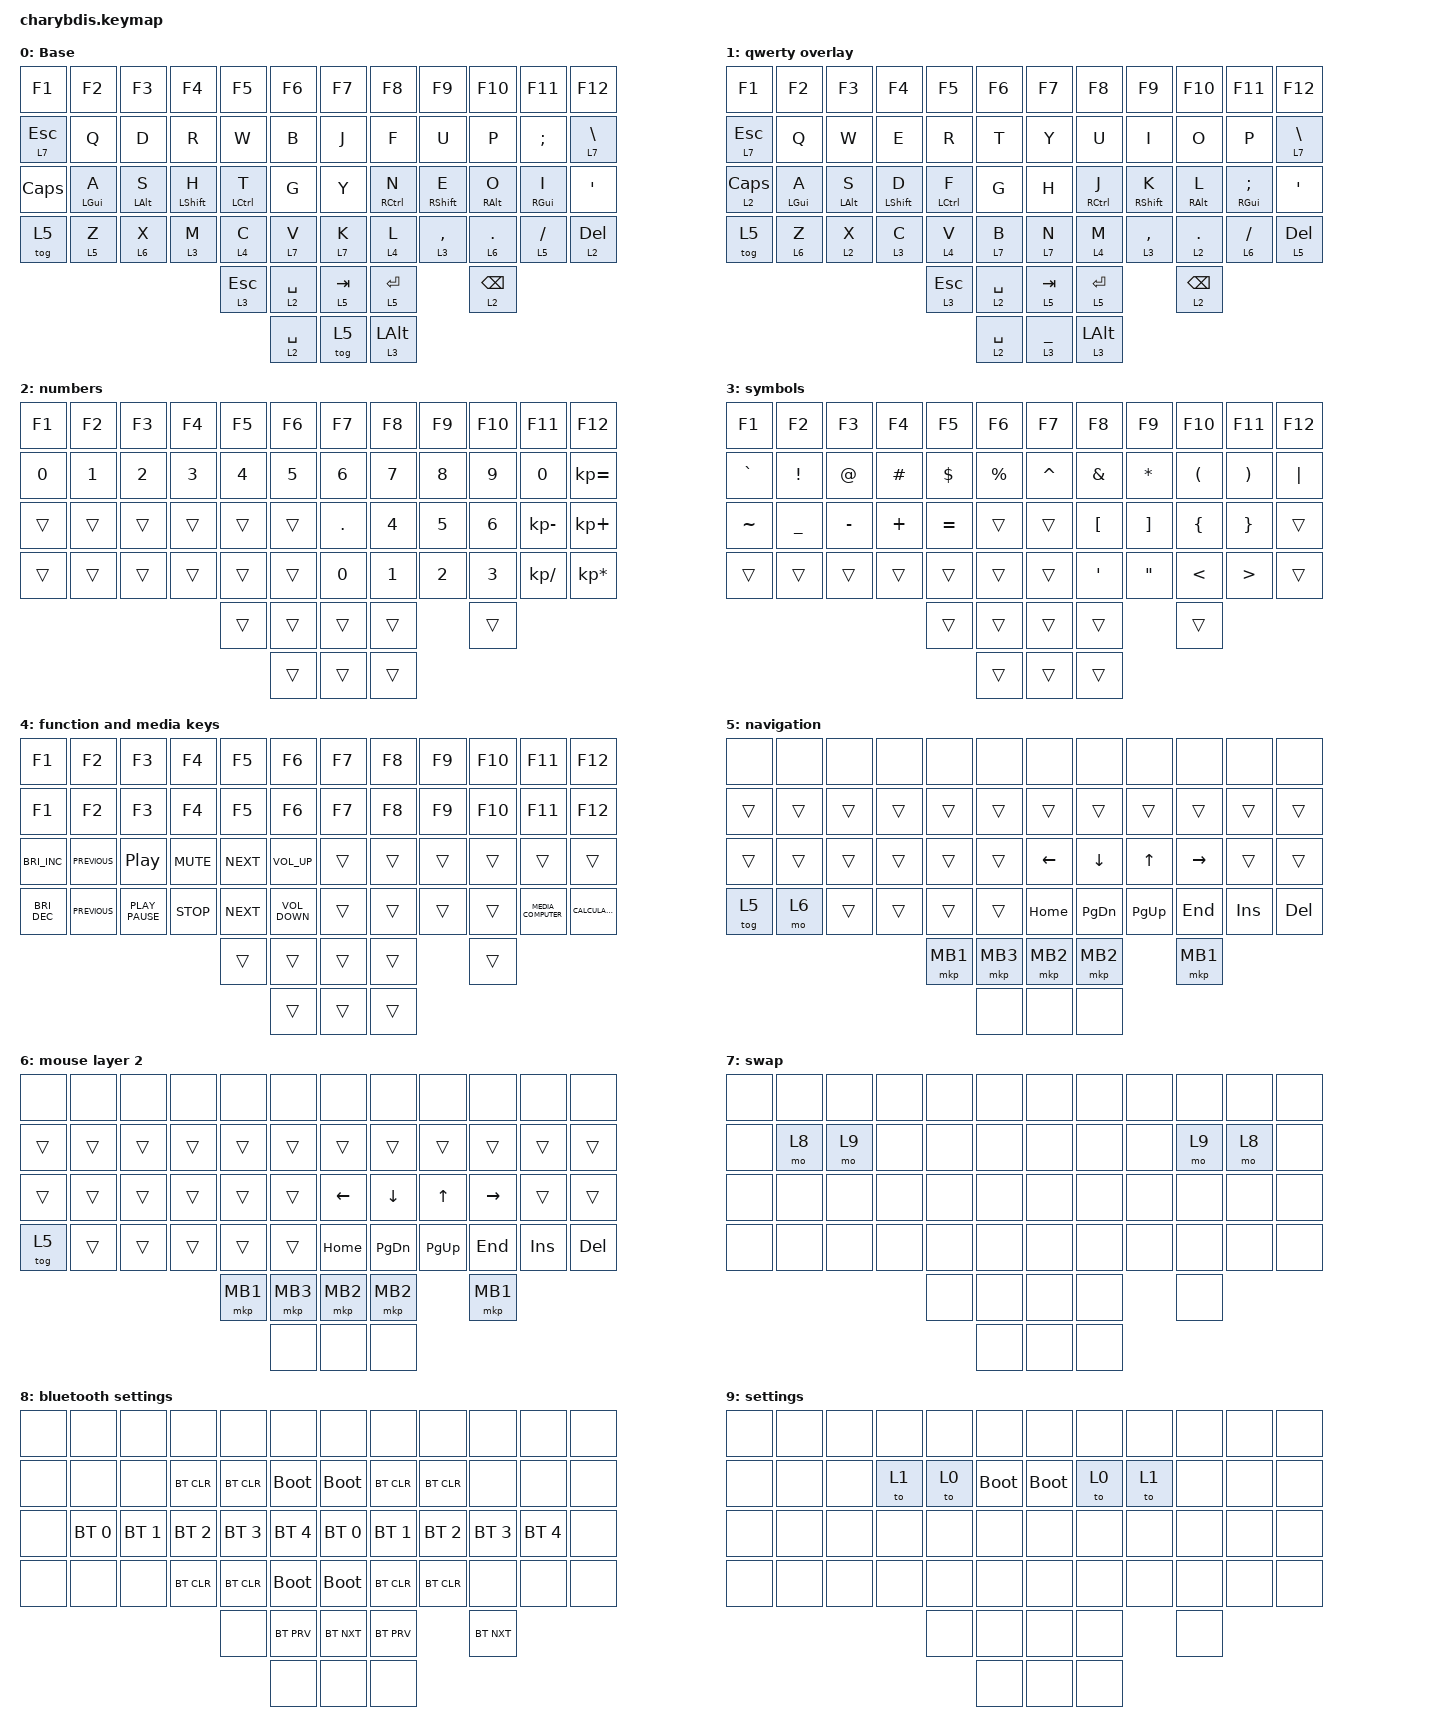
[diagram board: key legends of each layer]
#include <behaviors.dtsi>
#include <dt-bindings/zmk/bt.h>
#include <dt-bindings/zmk/keys.h>
#include <dt-bindings/zmk/mouse.h>

&lt {
	tapping-term-ms = <150>;
	quick-tap-ms = <120>;
	/* tap-preferred flavor: decision made when tapping term expires. (Trying this now with a reduced tapping term of 150ms and quick tap 120ms, 180ms 150ms was too slow for my typing speed).
	* balanced flavor: decision made when interrupting key is released. (Tried this with tapping term 180ms & quick tap 150ms, found that it slows my typing because in order to register consecutive taps I have to wait for the tapping term to expire)
	* hold-preferred flavor: decision made when interrupting key is pressed. (Not my desired behaviour)
	* https://zmk.dev/assets/images/comparison-90bcec61f679e88a74490eb261d92940.svg
	*/
	//flavor = "hold-preferred";
	flavor = "balanced";
	//flavor = "tap-preferred";
};

/ {
	combos {
		compatible = "zmk,combos";

		printscreen_left_3row {
			bindings = <&kp PRINTSCREEN>;
			key-positions = <12 17>;
			layers = <0 1>; // comment out to make it a global combo
			timeout-ms = <50>;
		};

		printscreen_right_3row {
			bindings = <&kp PRINTSCREEN>;
			key-positions = <18 23>;
			layers = <0 1>;
			timeout-ms = <50>;
		};

	/*		printscreen_left_4row {
			bindings = <&kp PRINTSCREEN>;
			key-positions = <24 29>;
			layers = <0 1>; // comment out to make it a global combo
			timeout-ms = <50>;
		};

		printscreen_right_4row {
			bindings = <&kp PRINTSCREEN>;
			key-positions = <30 35>;
			layers = <0 1>;
			timeout-ms = <50>;
		};
	*/
		bootloader_left_3row {
			bindings = <&bootloader>;
			key-positions = <0 5 19 24>;
			timeout-ms = <50>;
			layers = <0 1>;
		};

		bootloader_right_3row {
			bindings = <&bootloader>;
			key-positions = <6 11 25 30>;
			timeout-ms = <50>;
			layers = <0 1>;
		};

	/*		bootloader_left_4row {
			bindings = <&bootloader>;
			key-positions = <l3 18 37 42>;
			timeout-ms = <50>;
			layers = <0 1>;
		};

		bootloader_right_4row {
			bindings = <&bootloader>;
			key-positions = <19 24 43 48>;
			timeout-ms = <50>;
			layers = <0 1>;
		};
	*/
	};

	keymap {
		compatible = "zmk,keymap";
		/*-----------------------------------------------------------------------------------------------------------------------------|
		| LAYER 0 - BASE LAYER - WORKMAN - HOMEROW MODS GASC - LAYERTAP THUMB CLUSTER & LAYER TAP ROW 3                                |
		|-----------------------------------------------------| ROW 0            |-----------------------------------------------------|
		| x      | x      | x      | x      | x      | x      |  NOT IN SCOPE    | x      | x      | x      | x      | x      | x      |
		|--------|--------|--------|--------|--------|--------| ROW 1            |--------|--------|--------|--------|--------|--------|
		| ESC    | Q      | D      | R      | W      | B      |                  | J      | F      | U      | P      | ;      | \ |    |
		|        |        |        |        |        |        |                  |        |        |        |        |        | LT 9   |
		|--------|--------|--------|--------|--------|--------| ROW 2            |--------|--------|--------|--------|--------|--------|
		| CAPS   | A      | S      | H      | T      | G      |                  | Y      | N      | E      | O      | I      | ' "    |
		|        | LGUI   | LALT   | LSHFT  | LCTRL  |        |                  |        | RCTRL  | RSHFT  | RALT   | RGUI   |        |
		|--------|--------|--------|--------|--------|--------| ROW 3            |--------|--------|--------|--------|--------|--------|
		|        | Z      | X      | M      | C      | V      |                  | K      | L      | , <    | . >    | / ?    | DELETE |
		| TOG 5  | LT 5   | LT 6   | LT 3   | LT 4   | LT 7   |                  | LT 7   | LT 4   | LT 3   | LT 6   | LT 5   | LT 2   |
		|-----------------------------------|--------|--------|--------||--------|--------|--------------------------------------------|
		| ROW 4                             | ESCAPE | SPACE  | TAB    || ENTER  | BCKSPC |    /-------\   TRACKBALL PM3610            |
		|                                   | LT 3   | LT 2   | LT 5   || LT 3   | LT 2   |	  / MOUSE   \                              |
		| ROW 5 - NOT IN SCOPE              |--------|--------|--------||--------|--------|	 (  MOVEMENT )                             |
		|                                            | SPACE  | TOG 5  || LALT   |            \         /                              |
		|                                            | LT 2   |        || LT 3   |             \-------/                               |
		|                                            |--------|--------||--------|                                                     |
		|-----------------------------------------------------------------------------------------------------------------------------*/
		/* L0: base L1: QWERTY L2: Numbers L3: Symbols L4: FkeysMedia L5: Navigation L6: Mouse L7: Swap L8: BT Settings L9: Settings	*/
		Base {
			bindings = <
				&kp F1          &kp F2           	&kp F3            	&kp F4      		&kp F5      		&kp F6          &kp F7   	&kp F8   &kp F9   &kp F10  &kp F11                 &kp F12
				&lt 7 ESCAPE	&kp Q				&kp D				&kp R				&kp W				&kp B			&kp J		&kp F						&kp U						&kp P					&kp SEMICOLON		&lt 7 BACKSLASH
				&kp CAPSLOCK	&mt LEFT_GUI A		&mt LEFT_ALT S		&mt LEFT_SHIFT H	&mt LEFT_CONTROL T	&kp G			&kp Y		&mt RIGHT_CONTROL N	&mt RIGHT_SHIFT E		&mt RIGHT_ALT O	&mt RIGHT_GUI I	&kp APOSTROPHE
				&tog 5			&lt 5 Z				&lt 6 X				&lt 3 M				&lt 4 C					&lt 7 V		&lt 7 K		&lt 4 L					&lt 3 COMMA				&lt 6 PERIOD		&lt 5 SLASH			&lt 2 DELETE
																					&lt 3 ESCAPE		&lt 2 SPACE				&lt 5 TAB	&lt 5 ENTER		&lt 2 BACKSPACE
																										&lt 2 SPACE				&tog 5		&lt 3 LALT
			>;
			trackball-bindings = <&tmv_coarse>;
		};

		/*-----------------------------------------------------------------------------------------------------------------------------|
		| LAYER 1 - BASE LAYER overlay - QWERTY - HOMEROW MODS GASC - LAYERTAP THUMB CLUSTER & LAYER TAP ROW 3                         |
		|-----------------------------------------------------| ROW 0            |-----------------------------------------------------|
		| x      | x      | x      | x      | x      | x      |  NOT IN SCOPE    | x      | x      | x      | x      | x      | x      |
		|--------|--------|--------|--------|--------|--------| ROW 1            |--------|--------|--------|--------|--------|--------|
		| ESC    | Q      | W      | E      | R      | T      |                  | Y      | U      | I      | O      | P      | \ |    |
		|        |        |        |        |        |        |                  |        |        |        |        |        |        |
		|--------|--------|--------|--------|--------|--------| ROW 2            |--------|--------|--------|--------|--------|--------|
		| CAPS   | A      | S      | D      | F      | G      |                  | H      | J      | K      | L      | ;      | ' "    |
		|        | LGUI   | LALT   | LSHFT  | LCTRL  |        |                  |        | RCTRL  | RSHFT  | RALT   | RGUI   |        |
		|--------|--------|--------|--------|--------|--------| ROW 3            |--------|--------|--------|--------|--------|--------|
		|        | Z      | X      | C      | V      | B      |                  | N      | M      | , <    | . >    | / ?    | DELETE |
		| TOG 5  |        |        |        |        |        |                  |        |        |        |        |        |        |
		|-----------------------------------|--------|--------|--------||--------|--------|--------------------------------------------|
		| ROW 4                             | LGUI   | SPACE  | TAB    || ENTER  | BCKSPC |    /-------\   TRACKBALL PM3610            |
		|                                   |        |        |        ||        |        |	  / MOUSE   \                              |
		| ROW 5 - NOT IN SCOPE              |--------|--------|--------||--------|--------|	 (  MOVEMENT )                             |
		|                                            | x      | x      || x      |            \         /                              |
		|                                            |-----------------||--------|             \-------/                               |
		|-----------------------------------------------------------------------------------------------------------------------------*/
		qwerty {
			label = "qwerty overlay";
			bindings = <
				&kp F1                &kp F2           &kp F3            &kp F4      &kp F5      &kp F6               &kp F7   &kp F8   &kp F9   &kp F10  &kp F11                 &kp F12
				&lt 7 ESCAPE  &kp Q &kp W &kp E &kp R &kp T &kp Y &kp U &kp I &kp O &kp P &lt 7 BACKSLASH
				&lt 2 CAPSLOCK &mt LEFT_GUI A &mt LEFT_ALT S &mt LEFT_SHIFT D  &mt LEFT_CONTROL F   &kp G &kp H &mt RIGHT_CONTROL J  &mt RIGHT_SHIFT K &mt RIGHT_ALT L   &mt RIGHT_GUI SEMICOLON &kp APOSTROPHE
				&tog 5   &lt 6 Z  &lt 2 X  &lt 3 C  &lt 4 V  &lt 7 B  &lt 7 N  &lt 4 M  &lt 3 COMMA &lt 2 PERIOD   &lt 6 SLASH &lt 5 DELETE
				&lt 3 ESCAPE   &lt 2 SPACE &lt 5 TAB   &lt 5 ENTER &lt 2 BACKSPACE
				&lt 2 SPACE		&lt 3 UNDERSCORE	&lt 3 LALT
			>;
			trackball-bindings = <&tmv_coarse>;
		};

		/*-----------------------------------------------------------------------------------------------------------------------------|
		| LAYER 2 - Numbers                                                                                                            |
		|-----------------------------------------------------| ROW 0            |-----------------------------------------------------|
		| x      | x      | x      | x      | x      | x      |  NOT IN SCOPE    | x      | x      | x      | x      | x      | x      |
		|--------|--------|--------|--------|--------|--------| ROW 1            |--------|--------|--------|--------|--------|--------|
		| 0      | 1      | 2      | 3      | 4      | 5      |                  | 6      | 7      | 8      | 9      | 0      | =      |
		|        |        |        |        |        |        |                  |        |        |        |        |        |        |
		|--------|--------|--------|--------|--------|--------| ROW 2            |--------|--------|--------|--------|--------|--------|
		|        |        |        |        |        |        |                  | .      | 4      | 5      | 6      | -      | +      |
		|        |        |        |        |        |        |                  |        |        |        |        |        |        |
		|--------|--------|--------|--------|--------|--------| ROW 3            |--------|--------|--------|--------|--------|--------|
		|        |        |        |        |        |        |                  | 0      | 1      | 2      | 3      | /      | *      |
		|        |        |        |        |        |        |                  |        |        |        |        |        |        |
		|-----------------------------------|--------|--------|--------||--------|--------|--------------------------------------------|
		| ROW 4                             |        |        |        ||        |        |    /-------\   TRACKBALL PM3610            |
		|                                   |        |        |        ||        |        |	  / MOUSE   \                              |
		| ROW 5 - NOT IN SCOPE              |--------|--------|--------||--------|--------|	 (  MOVEMENT )                             |
		|                                            | x      | x      || x      |            \         /                              |
		|                                            |-----------------||--------|             \-------/                               |
		|-----------------------------------------------------------------------------------------------------------------------------*/
		numbers {
			label = "numbers";
			bindings = <
 				&kp F1                &kp F2           &kp F3            &kp F4      &kp F5      &kp F6               &kp F7   &kp F8   &kp F9   &kp F10  &kp F11                 &kp F12
				&kp N0  					&kp N1   	&kp N2   	&kp N3   	&kp N4     	&kp N5   	&kp N6		&kp N7   	&kp N8   	&kp N9   	&kp N0   			&kp KP_EQUAL
				&trans/*LOCKING_NUM*/&trans      &trans      &trans      &trans      &trans      &kp DOT     &kp N4   	&kp N5   	&kp N6   	&kp KP_MINUS   	&kp KP_PLUS
				&trans/*SCROLLLOCK*/ &trans      &trans      &trans      &trans      &trans      &kp N0 		&kp N1   	&kp N2   	&kp N3   	&kp KP_DIVIDE  	&kp KP_MULTIPLY
															&trans      &trans      &trans      &trans			&trans
																		&trans      &trans      &trans
			>;
			trackball-bindings = <&tmv_coarse>;
		};

      /*-----------------------------------------------------------------------------------------------------------------------------|
		| LAYER 3 - Symbols                                                                                                            |
		|-----------------------------------------------------| ROW 0            |-----------------------------------------------------|
		| x      | x      | x      | x      | x      | x      |  NOT IN SCOPE    | x      | x      | x      | x      | x      | x      |
		|--------|--------|--------|--------|--------|--------| ROW 1            |--------|--------|--------|--------|--------|--------|
		| `      | !      | @      | #      | $      | %      |                  | ^      | &      | *      | (      | )      | |      |
		|        |        |        |        |        |        |                  |        |        |        |        |        |        |
		|--------|--------|--------|--------|--------|--------| ROW 2            |--------|--------|--------|--------|--------|--------|
		| ~      | _      | -      | +      | =      |        |                  |        | [      | ]      | {      | }      | "      |
		|        |        |        |        |        |        |                  |        |        |        |        |        |        |
		|--------|--------|--------|--------|--------|--------| ROW 3            |--------|--------|--------|--------|--------|--------|
		|        |        |        |        |        |        |                  |        | '      | "      | <      | >      | ?      |
		|        |        |        |        |        |        |                  |        |        |        |        |        |        |
		|-----------------------------------|--------|--------|--------||--------|--------|--------------------------------------------|
		| ROW 4                             |        |        |        ||        |        |    /-------\   TRACKBALL PM3610            |
		|                                   |        |        |        ||        |        |	  / MOUSE   \                              |
		| ROW 5 - NOT IN SCOPE              |--------|--------|--------||--------|--------|	 (  MOVEMENT )                             |
		|                                            | x      | x      || x      |            \         /                              |
		|                                            |-----------------||--------|             \-------/                               |
		|-----------------------------------------------------------------------------------------------------------------------------*/
      symbols {
         label = "symbols";
         bindings = <
			&kp F1                &kp F2           &kp F3            &kp F4      &kp F5      &kp F6               &kp F7   &kp F8   &kp F9   &kp F10  &kp F11                 &kp F12
            &kp GRAVE  	&kp EXCLAMATION 	&kp AT_SIGN   	&kp HASH  	&kp DOLLAR    	&kp PERCENT  	&kp CARET  	&kp AMPERSAND     &kp ASTERISK       	&kp LEFT_PARENTHESIS 	&kp RIGHT_PARENTHESIS 	&kp PIPE
            &kp TILDE  	&kp UNDERSCORE  	&kp MINUS  		&kp PLUS  	&kp EQUAL  		&trans       	&trans     	&kp LEFT_BRACKET  &kp RIGHT_BRACKET  	&kp LEFT_BRACE       	&kp RIGHT_BRACE       	&trans
            &trans     	&trans          	&trans        	&trans    	&trans        	&trans       	&trans     	&kp APOSTROPHE    &kp DOUBLE_QUOTES  	&kp LESS_THAN        	&kp GREATER_THAN      	&trans
                                                     		&trans    	&trans        	&trans       	&trans 		&trans
                                                               			&trans      &trans      &trans
         >;
			trackball-bindings = <&tmv_coarse>;
      };

		/*-----------------------------------------------------------------------------------------------------------------------------|
		| LAYER 4 - Function & Media Keys                                                                                              |
		|-----------------------------------------------------| ROW 0            |-----------------------------------------------------|
		| x      | x      | x      | x      | x      | x      |  NOT IN SCOPE    | x      | x      | x      | x      | x      | x      |
		|--------|--------|--------|--------|--------|--------| ROW 1            |--------|--------|--------|--------|--------|--------|
		| F1     | F2     | F3     | F4     | F5     | F6     |                  | F7     | F8     | F9     | F10    | F11    | F12    |
		|        |        |        |        |        |        |                  |        |        |        |        |        |        |
		|--------|--------|--------|--------|--------|--------| ROW 2            |--------|--------|--------|--------|--------|--------|
		| BRI UP | PREV   | PLAY/  | MUTE   | NEXT   | VOL UP |                  | BRI UP |        |        |        |        |        |
		|        |        | PAUSE  |        |        |        |                  |        |        |        |        |        |        |
		|--------|--------|--------|--------|--------|--------| ROW 3            |--------|--------|--------|--------|--------|--------|
		| BRI UP | MAC    | MAC    | MAC    | MAC    | VOL DN |                  | BRI DN |        |        |        | COMP   | CALC   |
		|        |        |        |        |        |        |                  |        |        |        |        |        |        |
		|-----------------------------------|--------|--------|--------||--------|--------|--------------------------------------------|
		| ROW 4                             |        |        |        ||        |        |    /-------\   TRACKBALL PM3610            |
		|                                   |        |        |        ||        |        |	  / MOUSE   \                              |
		| ROW 5 - NOT IN SCOPE              |--------|--------|--------||--------|--------|	 (  MOVEMENT )                             |
		|                                            | x      | x      || x      |            \         /                              |
		|                                            |-----------------||--------|             \-------/                               |
		|-----------------------------------------------------------------------------------------------------------------------------*/
      fkeysmedia {
         label = "function and media keys";
         bindings = <
			&kp F1                &kp F2           &kp F3            &kp F4      &kp F5      &kp F6               &kp F7   &kp F8   &kp F9   &kp F10  &kp F11                 &kp F12
            &kp F1                &kp F2           &kp F3            &kp F4      &kp F5      &kp F6               &kp F7   &kp F8   &kp F9   &kp F10  &kp F11                 &kp F12
            &kp C_BRIGHTNESS_INC  &kp C_PREVIOUS   &kp C_PLAY_PAUSE  &kp K_MUTE  &kp C_NEXT  &kp C_VOLUME_UP      &trans   &trans   &trans   &trans   &trans                  &trans
            &kp C_BRIGHTNESS_DEC  &kp K_PREVIOUS   &kp K_PLAY_PAUSE  &kp K_STOP  &kp K_NEXT  &kp C_VOLUME_DOWN    &trans   &trans   &trans   &trans   &kp C_MEDIA_COMPUTER		&kp K_CALCULATOR
                                                                     &trans      &trans      &trans               &trans   &trans
                                                                                 &trans      &trans      &trans
         >;
			trackball-bindings = <&tmv_coarse>;
      };


		/*-----------------------------------------------------------------------------------------------------------------------------|
		| LAYER 5 - Navigation - Arrow keys, HOME END PG UP PG DN INS DELETE                                                           |
		|-----------------------------------------------------| ROW 0            |-----------------------------------------------------|
		| x      | x      | x      | x      | x      | x      |  NOT IN SCOPE    | x      | x      | x      | x      | x      | x      |
		|--------|--------|--------|--------|--------|--------| ROW 1            |--------|--------|--------|--------|--------|--------|
		|        |        |        |        |        |        |                  |        |        |        |        |        |        |
		|        |        |        |        |        |        |                  |        |        |        |        |        |        |
		|--------|--------|--------|--------|--------|--------| ROW 2            |--------|--------|--------|--------|--------|--------|
		|        |        |        |        |        |        |                  | LEFT   | DOWN   | UP     | RIGHT  |        |        |
		|        |        |        |        |        |        |                  |        |        |        |        |        |        |
		|--------|--------|--------|--------|--------|--------| ROW 3            |--------|--------|--------|--------|--------|--------|
		| TOG 6  | TOG 5  |        |        |        |        |                  | HOME   | PG DN  | PG UP  | END    | INS    | DEL    |
		|        |        |        |        |        |        |                  |        |        |        |        |        |        |
		|-----------------------------------|--------|--------|--------||--------|--------|--------------------------------------------|
		| ROW 4                             | MB1    | MB3    | MB2    ||        |        |	   /--------\   TRACKBALL PM3610           |
		|                                   |        |        |        ||        |        |	  /          \                             |
		| ROW 5 - NOT IN SCOPE              |--------|--------|--------||--------|--------|	 (            )                            |
		|                                            | x      | x      || x      |            \          /                             |
		|                                            |--------|--------||--------|             \--------/                              |
		|-----------------------------------------------------------------------------------------------------------------------------*/
      navigation {
         label = "navigation";
         bindings = <
            &none   &none   &none            &none           &none            &none             &none           &none           &none         &none            &none       &none
            &trans  &trans  &trans           &trans          &trans           &trans            &trans          &trans          &trans        &trans           &trans      &trans
            &trans  &trans  &trans           &trans          &trans           &trans            &kp LEFT_ARROW  &kp DOWN_ARROW  &kp UP_ARROW  &kp RIGHT_ARROW  &trans      &trans
            &tog 5  &mo 6   &trans           &trans          &trans           &trans            &kp HOME        &kp PAGE_DOWN   &kp PAGE_UP   &kp END          &kp INSERT  &kp DELETE
                                             &mkp MB1        &mkp MB3         &mkp MB2          &mkp MB2          &mkp MB1
                                                             &none            &none             &none
         >;
			trackball-bindings = <&tmv_coarse>;
			//trackball-bindings = <&tmv_fine>;//精准指针层
         //trackball-bindings = <&tsl>; //滚轮层
      };

		/*-----------------------------------------------------------------------------------------------------------------------------|
		| LAYER 6 - Mouse - Mouse Button Scroll Movement                                                                               |
		|-----------------------------------------------------| ROW 0            |-----------------------------------------------------|
		| x      | x      | x      | x      | x      | x      |  NOT IN SCOPE    | x      | x      | x      | x      | x      | x      |
		|--------|--------|--------|--------|--------|--------| ROW 1            |--------|--------|--------|--------|--------|--------|
		|        |        |        |        |        |        |                  |        |        |        |        |        |        |
		|        |        |        |        |        |        |                  |        |        |        |        |        |        |
		|--------|--------|--------|--------|--------|--------| ROW 2            |--------|--------|--------|--------|--------|--------|
		|        |        |        |        |        |        |                  |        |        |        |        |        |        |
		|        |        |        |        |        |        |                  |        |        |        |        |        |        |
		|--------|--------|--------|--------|--------|--------| ROW 3            |--------|--------|--------|--------|--------|--------|
		|        |        |        |        |        |        |                  |        |        |        |        |        |        |
		|        |        |        |        |        |        |                  |        |        |        |        |        |        |
		|-----------------------------------|--------|--------|--------||--------|--------|--------------------------------------------|
		| ROW 4                             |        |        |        ||        |        |	   /--------\   TRACKBALL PM3610           |
		|                                   |        |        |        ||        |        |	  /          \                             |
		| ROW 5 - NOT IN SCOPE              |--------|--------|--------||--------|--------|	 (            )                            |
		|                                            | x      | x      || x      |            \          /                             |
		|                                            |--------|--------||--------|             \--------/                              |
		|-----------------------------------------------------------------------------------------------------------------------------*/
      mouse {
			label = "mouse layer 2";
			bindings = <
            &none   &none   &none		&none           &none            &none             &none           &none           &none         &none            &none       &none
            &trans  &trans  &trans      &trans          &trans           &trans            &trans          &trans          &trans        &trans           &trans      &trans
            &trans  &trans  &trans      &trans          &trans           &trans            &kp LEFT_ARROW  &kp DOWN_ARROW  &kp UP_ARROW  &kp RIGHT_ARROW  &trans      &trans
            &tog 5  &trans  &trans      &trans          &trans           &trans            &kp HOME        &kp PAGE_DOWN   &kp PAGE_UP   &kp END          &kp INSERT  &kp DELETE
                                        &mkp MB1        &mkp MB3         &mkp MB2          &mkp MB2          &mkp MB1
                                                             &none            &none             &none
         >;
         trackball-bindings = <&tsl>; //滚轮层
		};

		/*-----------------------------------------------------------------------------------------------------------------------------|
		| LAYER 7 - Swap layer                                                                                                         |
		|-----------------------------------------------------| ROW 0            |-----------------------------------------------------|
		| x      | x      | x      | x      | x      | x      |  NOT IN SCOPE    | x      | x      | x      | x      | x      | x      |
		|--------|--------|--------|--------|--------|--------| ROW 1            |--------|--------|--------|--------|--------|--------|
		|        |        |        |        |        |        |                  |        |        |        |        |        |        |
		|        | MO 8   | MO 9   |        |        |        |                  |        |        |        | MO 9   | MO 8   |        |
		|--------|--------|--------|--------|--------|--------| ROW 2            |--------|--------|--------|--------|--------|--------|
		|        |        |        |        |        |        |                  |        |        |        |        |        |        |
		|        |        |        |        |        |        |                  |        |        |        |        |        |        |
		|--------|--------|--------|--------|--------|--------| ROW 3            |--------|--------|--------|--------|--------|--------|
		|        |        |        |        |        |        |                  |        |        |        |        |        |        |
		|        |        |        |        |        |        |                  |        |        |        |        |        |        |
		|-----------------------------------|--------|--------|--------||--------|--------|--------------------------------------------|
		| ROW 4                             |        |        |        ||        |        |	   /--------\   TRACKBALL PM3610           |
		|                                   |        |        |        ||        |        |	  /          \                             |
		| ROW 5 - NOT IN SCOPE              |--------|--------|--------||--------|--------|	 (            )                            |
		|                                            | x      | x      || x      |            \          /                             |
		|                                            |--------|--------||--------|             \--------/                              |
		|-----------------------------------------------------------------------------------------------------------------------------*/
      swap{
         label = "swap";
         bindings = <
            &none			&none   		&none			&none			&none			&none			&none			&none			&none			&none			&none			&none
            &none			&mo 8   		&mo 9 		&none			&none			&none			&none			&none			&none			&mo 9     	&mo 8 		&none
            &none			&none   		&none			&none			&none			&none			&none			&none			&none			&none			&none			&none
            &none			&none   		&none			&none			&none			&none			&none			&none			&none			&none			&none			&none
                                             	&none			&none			&none			&none			&none
                                                            &none       &none       &none
         >;
      };

		/*-----------------------------------------------------------------------------------------------------------------------------|
		| LAYER 8 - BLUETOOTH settings                                                                                                 |
		|-----------------------------------------------------| ROW 0            |-----------------------------------------------------|
		| x      | x      | x      | x      | x      | x      |  NOT IN SCOPE    | x      | x      | x      | x      | x      | x      |
		|--------|--------|--------|--------|--------|--------| ROW 1            |--------|--------|--------|--------|--------|--------|
		|        |        |BT SEL 0|BT SEL 1|BT SEL 2|BT SEL 3|                  |BT SEL 3|BT SEL 2|BT SEL 1|BT SEL 0|        |        |
		|        |        |        |        |        |        |                  |        |        |        |        |        |        |
		|--------|--------|--------|--------|--------|--------| ROW 2            |--------|--------|--------|--------|--------|--------|
		|        |BOOTLOAD|        |BT PRV  |BT NXT  |BT CLR  |                  |BT CLR  | BT NXT | BT PRV |        |BOOTLOAD|        |
		|        |        |        |        |        |        |                  |        |        |        |        |        |        |
		|--------|--------|--------|--------|--------|--------| ROW 3            |--------|--------|--------|--------|--------|--------|
		|        |        |        |        |        |        |                  |        |        |        |        |        |        |
		|        |        |        |        |        |        |                  |        |        |        |        |        |        |
		|-----------------------------------|--------|--------|--------||--------|--------|--------------------------------------------|
		| ROW 4                             |MB1     |MB3     |MB2     ||MB2     |MB1     |	   /--------\   TRACKBALL PM3610           |
		|                                   |        |        |        ||        |        |	  /          \                             |
		| ROW 5 - NOT IN SCOPE              |--------|--------|--------||--------|--------|	 (            )                            |
		|                                            | x      | x      || x      |            \          /                             |
		|                                            |--------|--------||--------|             \--------/                              |
		|-----------------------------------------------------------------------------------------------------------------------------*/
      btsettings {
			label = "bluetooth settings";
			bindings = <
            &none       &none			&none       	&none       	&none      		&none          		&none          	  	&none      			&none         	&none       		&none         	&none
            &none 		&none         	&none         	&bt BT_CLR      &bt BT_CLR		&bootloader         &bootloader       	&bt BT_CLR    		&bt BT_CLR  	&none         		&none          	&none
            &none 		&bt BT_SEL 0  	&bt BT_SEL 1  	&bt BT_SEL 2 	&bt BT_SEL 3 	&bt BT_SEL 4		&bt BT_SEL 0  	  	&bt BT_SEL 1  		&bt BT_SEL 2 	&bt BT_SEL 3		&bt BT_SEL 4	&none
            &none 		&none         	&none         	&bt BT_CLR      &bt BT_CLR		&bootloader         &bootloader       	&bt BT_CLR		    &bt BT_CLR  	&none         		&none          	&none
            /*&none  		&bt BT_DISC 0  	&bt BT_DISC 1  	&bt BT_DISC 2 	&bt BT_DISC 3 	&bt BT_DISC 4		&bt BT_DISC 0     	&bt BT_DISC 1  		&bt BT_DISC 2  	&bt BT_DISC 3 		&bt BT_DISC 4	&none*/
										                &none			&bt BT_PRV    	&bt BT_NXT       	&bt BT_PRV        	&bt BT_NXT
														                &none      		&none       		&none
			>;
      	/* this layer broke the build
      	bindings = <
            &none          &none          &none          &none          &none          &none             &none           &none          &none          &none          &none          &none
            &bt BT_SEL 0   &bt BT_SEL 1   &bt BT_SEL 2   &bt BT_SEL 3   &bt BT_SEL 4   &bt BT_NXT        &bt BT_NXT      &bt BT_SEL 0   &bt BT_SEL 1   &bt BT_SEL 2   &bt BT_SEL 3   &bt BT_SEL 4
            &bt BT_DISC 0  &bt BT_DISC 1  &bt BT_DISC 2  &bt BT_DISC 3  &bt BT_DISC 4  &bt BT_PRV        &bt BT_PRV      &bt BT_DISC 0  &bt BT_DISC 1  &bt BT_DISC 2  &bt BT_DISC 3  &bt BT_DISC 4
            &none          &none          &none          &none          &bt BT_CLR     &bt BT_CLR_ALL    &bt BT_CLR_ALL  &bt BT_CLR     &none          &none          &none          &none
                                                         &none          &none          &none             &none           &none
                                                                        &none          &none             &none
         >; */
		};

		// Maybe I can use a combo to get to layer 8 for one keypress
		/*-----------------------------------------------------------------------------------------------------------------------------|
		| LAYER 9 - Settings - Reste KB & toggle base overlay                                                                          |
		|-----------------------------------------------------| ROW 0            |-----------------------------------------------------|
		| x      | x      | x      | x      | x      | x      |  NOT IN SCOPE    | x      | x      | x      | x      | x      | x      |
		|--------|--------|--------|--------|--------|--------| ROW 1            |--------|--------|--------|--------|--------|--------|
		|        |        |        |        |	    |BOOTLOADER|                  |BOOTLOADER|      |        |        |        |        |
		|        |        |        | TO 1   | TO 0   |        |                  |        | TO 0   | TO 1   |        |        |        |
		|--------|--------|--------|--------|--------|--------| ROW 2            |--------|--------|--------|--------|--------|--------|
		|        |        |        |        |        |        |                  |        |        |        |        |        |        |
		|        |        |        |        |        |        |                  |        |        |        |        |        |        |
		|--------|--------|--------|--------|--------|--------| ROW 3            |--------|--------|--------|--------|--------|--------|
		|        |        |        |        |        |        |                  |        |        |        |        |        |        |
		|        |        |        |        |        |        |                  |        |        |        |        |        |        |
		|-----------------------------------|--------|--------|--------||--------|--------|--------------------------------------------|
		| ROW 4                             |        |        |        ||        |        |	   /--------\   TRACKBALL PM3610           |
		|                                   |        |        |        ||        |        |	  /          \                             |
		| ROW 5 - NOT IN SCOPE              |--------|--------|--------||--------|--------|	 (            )                            |
		|                                            | x      | x      || x      |            \          /                             |
		|                                            |--------|--------||--------|             \--------/                              |
		|-----------------------------------------------------------------------------------------------------------------------------*/
      settings {
			label = "settings";
			bindings = <
            &none       &none		&none       &none       &none      		&none          	&none          	&none      	&none         &none        	&none         &none
            &none       &none    	&none       &to 1       &to 0  			&bootloader		&bootloader   	&to 0		&to 1         &none     	&none 		  &none
            &none       &none		&none       &none       &none      		&none          	&none          	&none      	&none         &none        	&none         &none
            &none       &none		&none       &none       &none      		&none          	&none          	&none      	&none         &none        	&none         &none
                                             	&none		&none			&none			&none			&none
														               		&none      		&none          	&none
			>;
		};

      /*
		layer_1 {
			bindings = <
				&kp TILDE         &kp EXCLAMATION  &kp HASH      	&kp DOLLAR    &kp DOLLAR    &kp PERCENT    &kp CARET  &kp AMPERSAND  &kp ASTERISK  &kp LEFT_PARENTHESIS  &kp RIGHT_PARENTHESIS  &kp UNDERSCORE
				&kp GRAVE         &kp NUMBER_1     &kp NUMBER_2  	&kp NUMBER_3  &kp NUMBER_4  &kp LBKT       &kp RBKT   &kp F1         &kp F2        &kp F3                &kp F4                 &kp DEL
				&kp LEFT_CONTROL  &kp NUMBER_5     &kp NUMBER_6  	&kp NUMBER_7  &kp NUMBER_8  &none          &kp BSLH   &kp F5         &kp F6        &kp F7                &kp F8                 &kp PAGE_UP
				&kp LSHFT         &kp NUMBER_9     &kp NUMBER_0  	&kp MINUS     &kp EQUAL     &none          &trans     &kp F9         &kp F10       &kp F11               &kp F12                &kp PAGE_DOWN
																	&kp LEFT_WIN  &kp SPACE     &trans         &kp ENTER  &kp BACKSPACE
																	&none         &none			&trans
			>;
		};

		layer_2 {
			bindings = <
            &kp F12           &kp F1      &kp F2      &kp F3         &kp F4         &kp F5          &kp F6        &kp F7         &kp F8    &kp F9     &kp F10  &kp F11
            &kp LS(GRAVE)     &kp LS(N1)  &kp LS(N2)  &kp LS(N3)     &kp LS(N4)     &kp LS(LBKT)    &kp LS(RBKT)  &none          &trans    &none      &none    &trans
            &kp LEFT_CONTROL  &kp LS(N5)  &kp LS(N6)  &kp LS(N7)     &kp LS(N8)     &none           &kp LS(BSLH)  &trans         &kp UP    &trans     &trans   &trans
            &kp LEFT_SHIFT    &kp LS(N9)  &kp LS(N0)  &kp LS(MINUS)  &kp LS(EQUAL)  &none           &none         &kp LEFT       &kp DOWN  &kp RIGHT  &none    &trans
										  &kp LEFT_ALT   &kp SPACE      &kp ENTER       &trans        &kp BACKSPACE
														 &trans         &trans          &none
			>;
		};

		Mouse {
			bindings = <
            &none        &none         &none         &none         &none      &none         &none       &none      &none         &none         &none         &none
            &none        &bt BT_SEL 0  &bt BT_SEL 1  &bt BT_SEL 2  &none      &bt BT_CLR    &bt BT_CLR  &none      &bt BT_SEL 2  &bt BT_SEL 1  &bt BT_SEL 0  &none
            &none        &trans        &trans        &mkp MCLK     &trans     &none         &none       &trans     &mkp MCLK     &trans        &trans        &none
            &bootloader  &trans        &mkp RCLK     &mo 4         &mkp LCLK  &mo 5         &mo 5       &mkp LCLK  &mo 4         &mkp RCLK     &trans        &bootloader
										 &mo 5         &mkp LCLK  &mkp RCLK     &mkp RCLK   &mkp LCLK
														&none      &trans        &trans
			>;
		};

		layer_4 {
			bindings = <
            &trans  &trans  &trans     &trans     &trans     &trans       &trans     &trans     &trans     &trans     &trans  &trans
            &trans  &trans  &trans     &trans     &trans     &trans       &trans     &trans     &trans     &trans     &trans  &trans
            &trans  &trans  &trans     &mkp MCLK  &trans     &trans       &trans     &trans     &mkp MCLK  &trans     &trans  &trans
            &trans  &trans  &mkp RCLK  &trans     &mkp LCLK  &trans       &trans     &mkp LCLK  &trans     &mkp RCLK  &trans  &trans
							&trans     &mkp LCLK  &mkp RCLK    &mkp RCLK  &mkp LCLK
									  &trans     &trans       &trans
			>;

			trackball-bindings = <&tsl>;//滚轮层
		};

		layer_5 {
			bindings = <
            &trans  &trans  &trans     &trans     &trans     &trans       &trans     &trans     &trans     &trans     &trans  &trans
            &trans  &trans  &trans     &trans     &trans     &trans       &trans     &trans     &trans     &trans     &trans  &trans
            &trans  &trans  &trans     &mkp MCLK  &trans     &trans       &trans     &trans     &mkp MCLK  &trans     &trans  &trans
            &trans  &trans  &mkp RCLK  &trans     &mkp LCLK  &trans       &trans     &mkp LCLK  &trans     &mkp RCLK  &trans  &trans
							&trans     &mkp LCLK  &mkp RCLK    &mkp RCLK  &mkp LCLK
									  &trans     &trans       &trans
			>;

			trackball-bindings = <&tmv_fine>;//精准指针层
		};
      */
	};
};
